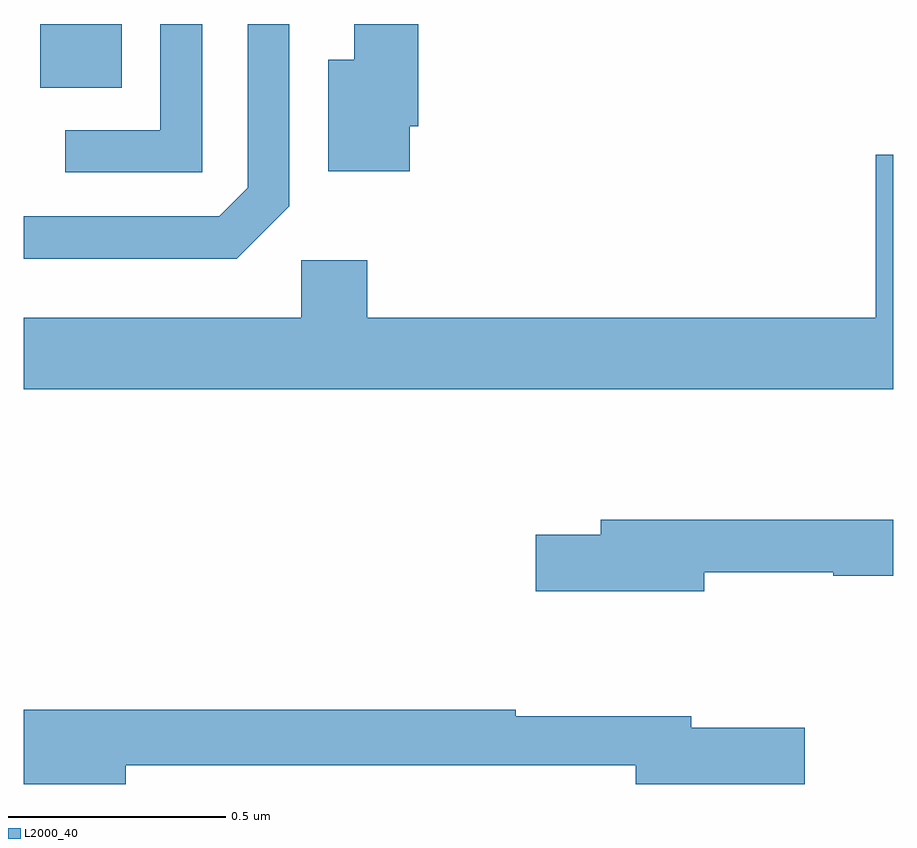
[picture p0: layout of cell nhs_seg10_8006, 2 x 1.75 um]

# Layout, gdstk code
import gdstk
lib = gdstk.Library(unit=1e-6, precision=1e-09)
def R(c, l, rs):  # rectangles x0, y0, x1, y1
    for r in rs: c.add(gdstk.rectangle(r[:2], r[2:], *l))
def P(c, l, *ps):  # polygons
    for p in ps: c.add(gdstk.Polygon(p, *l))
L2000_40 = (2000, 40)

nhs_seg10_8006 = lib.new_cell('nhs_seg10_8006')
R(nhs_seg10_8006, L2000_40, [(211.037,1290.353,211.225,1290.5)])
P(nhs_seg10_8006, L2000_40, [(211.888,1290.265),(211.907,1290.265),(211.907,1290.5),(211.76,1290.5),(211.76,1290.418),(211.7,1290.418),(211.7,1290.161),(211.888,1290.161)],
  [(211.611,1290.081),(211.611,1290.5),(211.515,1290.5),(211.515,1290.123),(211.449,1290.057),(211,1290.057),(211,1289.96),(211.49,1289.96)],
  [(211.41,1290.5),(211.314,1290.5),(211.314,1290.255),(211.095,1290.255),(211.095,1290.159),(211.41,1290.159)],
  [(213,1290.199),(212.96,1290.199),(212.96,1289.824),(211.79,1289.824),(211.79,1289.956),(211.638,1289.956),(211.638,1289.824),(211,1289.824),(211,1289.66),(213,1289.66)],
  [(212.566,1289.238),(212.862,1289.238),(212.862,1289.23),(213,1289.23),(213,1289.359),(212.327,1289.359),(212.327,1289.325),(212.178,1289.325),(212.178,1289.195),(212.566,1289.195)],
  [(211.234,1288.794),(212.408,1288.794),(212.408,1288.751),(212.797,1288.751),(212.797,1288.881),(212.536,1288.881),(212.536,1288.907),(212.132,1288.907),(212.132,1288.922),(211,1288.922),(211,1288.751),(211.234,1288.751)])

lib.write_gds('nhs_seg10_8006.gds')
